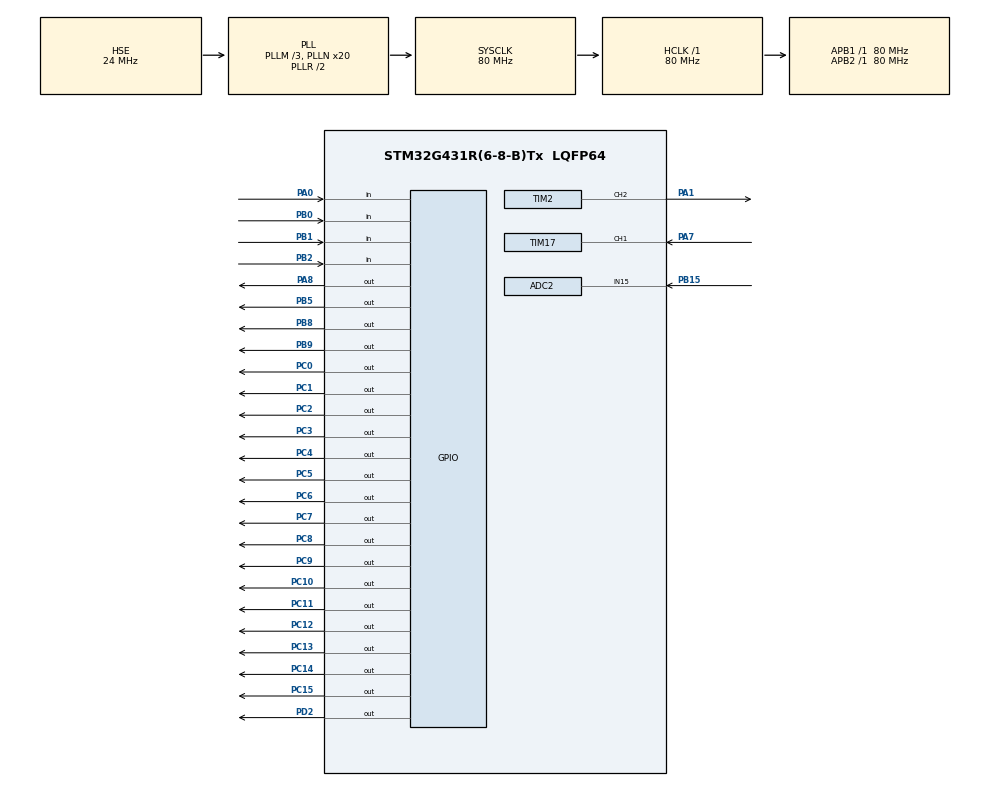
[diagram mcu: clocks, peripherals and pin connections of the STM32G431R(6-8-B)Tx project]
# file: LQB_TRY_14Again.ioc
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ADC2.Channel-0\#ChannelRegularConversion=ADC_CHANNEL_15
ADC2.NbrOfConversionFlag=1
ADC2.OffsetNumber-0\#ChannelRegularConversion=ADC_OFFSET_NONE
ADC2.Rank-0\#ChannelRegularConversion=1
ADC2.SamplingTime-0\#ChannelRegularConversion=ADC_SAMPLETIME_2CYCLES_5
Mcu.Family=STM32G4
Mcu.Name=STM32G431R(6-8-B)Tx
Mcu.Package=LQFP64
NVIC.PriorityGroup=NVIC_PRIORITYGROUP_4
NVIC.TIM1_TRG_COM_TIM17_IRQn=true\:0\:0\:false\:false\:true\:true\:true
NVIC.TIM6_DAC_IRQn=true\:0\:0\:false\:false\:true\:true\:true
PA0.GPIO_Mode=GPIO_MODE_INPUT
PA0.GPIO_PuPd=GPIO_PULLUP
PA0.Signal=GPIO_Input
PA1.Signal=S_TIM2_CH2
PA13.Mode=Serial_Wire
PA13.Signal=SYS_JTMS-SWDIO
PA14.Mode=Serial_Wire
PA14.Signal=SYS_JTCK-SWCLK
PA7.Signal=S_TIM17_CH1
PA8.Signal=GPIO_Output
PB0.GPIO_Mode=GPIO_MODE_INPUT
PB0.GPIO_PuPd=GPIO_PULLUP
PB0.Signal=GPIO_Input
PB1.GPIO_Mode=GPIO_MODE_INPUT
PB1.GPIO_PuPd=GPIO_PULLUP
PB1.Signal=GPIO_Input
PB15.Mode=IN15-Single-Ended
PB15.Signal=ADC2_IN15
PB2.GPIO_Mode=GPIO_MODE_INPUT
PB2.GPIO_PuPd=GPIO_PULLUP
PB2.Signal=GPIO_Input
PB5.Signal=GPIO_Output
PB8-BOOT0.Signal=GPIO_Output
PB9.Signal=GPIO_Output
PC0.Signal=GPIO_Output
PC1.Signal=GPIO_Output
PC10.Signal=GPIO_Output
PC11.Signal=GPIO_Output
PC12.Signal=GPIO_Output
PC13.Signal=GPIO_Output
PC14-OSC32_IN.Signal=GPIO_Output
PC15-OSC32_OUT.Signal=GPIO_Output
PC2.Signal=GPIO_Output
PC3.Signal=GPIO_Output
PC4.Signal=GPIO_Output
PC5.Signal=GPIO_Output
PC6.Signal=GPIO_Output
PC7.Signal=GPIO_Output
PC8.Signal=GPIO_Output
PC9.Signal=GPIO_Output
PD2.Signal=GPIO_Output
PF0-OSC_IN.Mode=HSE-External-Oscillator
PF0-OSC_IN.Signal=RCC_OSC_IN
PF1-OSC_OUT.Mode=HSE-External-Oscillator
PF1-OSC_OUT.Signal=RCC_OSC_OUT
ProjectManager.HeapSize=0x200
ProjectManager.StackSize=0x400
ProjectManager.TargetToolchain=MDK-ARM V5
RCC.ADC12Freq_Value=80000000
RCC.AHBFreq_Value=80000000
RCC.APB1Freq_Value=80000000
RCC.APB1TimFreq_Value=80000000
RCC.APB2Freq_Value=80000000
RCC.APB2TimFreq_Value=80000000
RCC.CortexFreq_Value=80000000
RCC.EXTERNAL_CLOCK_VALUE=12288000
RCC.HCLKFreq_Value=80000000
RCC.HSE_VALUE=24000000
RCC.HSI48_VALUE=48000000
RCC.HSI_VALUE=16000000
RCC.LSE_VALUE=32768
RCC.PLLM=RCC_PLLM_DIV3
RCC.PLLN=20
RCC.PLLSourceVirtual=RCC_PLLSOURCE_HSE
RCC.SYSCLKFreq_VALUE=80000000
RCC.SYSCLKSource=RCC_SYSCLKSOURCE_PLLCLK
RCC.USBFreq_Value=80000000
RCC.VCOOutputFreq_Value=160000000
SH.S_TIM17_CH1.0=TIM17_CH1,Input_Capture1_from_TI1
SH.S_TIM2_CH2.0=TIM2_CH2,PWM Generation2 CH2
TIM17.Channel=TIM_CHANNEL_1
TIM17.Prescaler=79
TIM2.Channel-PWM\ Generation2\ CH2=TIM_CHANNEL_2
TIM2.PeriodNoDither=99
TIM2.Prescaler=199
TIM2.PulseNoDither_2=50
TIM6.PeriodNoDither=999
TIM6.Prescaler=799
VP_SYS_VS_DBSignals.Mode=DisableDeadBatterySignals
VP_TIM17_VS_ClockSourceINT.Mode=Enable_Timer
VP_TIM2_VS_ClockSourceINT.Mode=Internal
VP_TIM6_VS_ClockSourceINT.Mode=Enable_Timer
board=custom

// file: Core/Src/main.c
/* USER CODE BEGIN Header */
/**
  ******************************************************************************
  * @file           : main.c
  * @brief          : Main program body
  ******************************************************************************
  * @attention
  *
  * <h2><center>&copy; Copyright (c) 2023 STMicroelectronics.
  * All rights reserved.</center></h2>
  *
  * This software component is licensed by ST under BSD 3-Clause license,
  * the "License"; You may not use this file except in compliance with the
  * License. You may obtain a copy of the License at:
  *                        opensource.org/licenses/BSD-3-Clause
  *
  ******************************************************************************
  */
/* USER CODE END Header */
#include "main.h"
#include "adc.h"
#include "tim.h"
#include "gpio.h"

/* USER CODE BEGIN Includes */
#include "lcd.h"
/* USER CODE END Includes */

/* USER CODE BEGIN PTD */
typedef struct
{
	bool key_sta,long_sta,single_sta;
	unsigned char time_sta,judge_sta;
}keys;
typedef struct
{
	bool flag1,flag2;
	int time;
}flags;
/* USER CODE END PTD */

/* USER CODE BEGIN PV */
keys key[4] = { 0 };
unsigned char page=0,R[2]={1,1},K[2]={1,1},N=0;
bool line=0,mode=0,lock=0;
char text[30];
double duty=0,V[2]={0},MH=0,ML=0,frq = 0,frq1;
flags adcflag = {0},frqflag = {0},vflag={0};
/* USER CODE END PV */

void SystemClock_Config(void);
/* USER CODE BEGIN PFP */
void LED_Proc(unsigned char led,unsigned char sta);
void KEY_Proc(void);
void LCD_Proc(void);
void ADCValue(void);
/* USER CODE END PFP */

int main(void)
{

  /* MCU Configuration--------------------------------------------------------*/

  /* Reset of all peripherals, Initializes the Flash interface and the Systick. */
  HAL_Init();

  /* Configure the system clock */
  SystemClock_Config();

  /* Initialize all configured peripherals */
  MX_GPIO_Init();
  MX_ADC2_Init();
  MX_TIM2_Init();
  MX_TIM6_Init();
  MX_TIM17_Init();
  /* USER CODE BEGIN 2 */
	//TIM6_INIT
	HAL_TIM_Base_Start_IT(&htim6);
	//LCD_INIT
	LCD_Init();
	LCD_Clear(Black);
	LCD_SetBackColor(Black);
	LCD_SetTextColor(White);
	//TIM17_INIT
	HAL_TIM_IC_Start_IT(&htim17,TIM_CHANNEL_1);
	//TIM2_INIT
	HAL_TIM_PWM_Start(&htim2,TIM_CHANNEL_2);
	//LED_INIT
	LED_Proc(1,1);
	//ADC_INIT
	HAL_ADCEx_Calibration_Start(&hadc2,ADC_SINGLE_ENDED);
  /* USER CODE END 2 */

  /* Infinite loop */
  /* USER CODE BEGIN WHILE */
  while (1)
  {
		KEY_Proc();
		LCD_Proc();
    /* USER CODE END WHILE */

  }
}

void SystemClock_Config(void)
{
  RCC_OscInitTypeDef RCC_OscInitStruct = {0};
  RCC_ClkInitTypeDef RCC_ClkInitStruct = {0};
  RCC_PeriphCLKInitTypeDef PeriphClkInit = {0};

  /** Configure the main internal regulator output voltage
  */
  HAL_PWREx_ControlVoltageScaling(PWR_REGULATOR_VOLTAGE_SCALE1);
  /** Initializes the RCC Oscillators according to the specified parameters
  * in the RCC_OscInitTypeDef structure.
  */
  RCC_OscInitStruct.OscillatorType = RCC_OSCILLATORTYPE_HSE;
  RCC_OscInitStruct.HSEState = RCC_HSE_ON;
  RCC_OscInitStruct.PLL.PLLState = RCC_PLL_ON;
  RCC_OscInitStruct.PLL.PLLSource = RCC_PLLSOURCE_HSE;
  RCC_OscInitStruct.PLL.PLLM = RCC_PLLM_DIV3;
  RCC_OscInitStruct.PLL.PLLN = 20;
  RCC_OscInitStruct.PLL.PLLP = RCC_PLLP_DIV2;
  RCC_OscInitStruct.PLL.PLLQ = RCC_PLLQ_DIV2;
  RCC_OscInitStruct.PLL.PLLR = RCC_PLLR_DIV2;
  if (HAL_RCC_OscConfig(&RCC_OscInitStruct) != HAL_OK)
  {
    Error_Handler();
  }
  /** Initializes the CPU, AHB and APB buses clocks
  */
  RCC_ClkInitStruct.ClockType = RCC_CLOCKTYPE_HCLK|RCC_CLOCKTYPE_SYSCLK
                              |RCC_CLOCKTYPE_PCLK1|RCC_CLOCKTYPE_PCLK2;
  RCC_ClkInitStruct.SYSCLKSource = RCC_SYSCLKSOURCE_PLLCLK;
  RCC_ClkInitStruct.AHBCLKDivider = RCC_SYSCLK_DIV1;
  RCC_ClkInitStruct.APB1CLKDivider = RCC_HCLK_DIV1;
  RCC_ClkInitStruct.APB2CLKDivider = RCC_HCLK_DIV1;

  if (HAL_RCC_ClockConfig(&RCC_ClkInitStruct, FLASH_LATENCY_2) != HAL_OK)
  {
    Error_Handler();
  }
  /** Initializes the peripherals clocks
  */
  PeriphClkInit.PeriphClockSelection = RCC_PERIPHCLK_ADC12;
  PeriphClkInit.Adc12ClockSelection = RCC_ADC12CLKSOURCE_SYSCLK;
  if (HAL_RCCEx_PeriphCLKConfig(&PeriphClkInit) != HAL_OK)
  {
    Error_Handler();
  }
}

/* USER CODE BEGIN 4 */
/**********************************************************************************
*TIM6:0.01s进入一次
*TIM6
**********************************************************************************/
void HAL_TIM_PeriodElapsedCallback(TIM_HandleTypeDef *htim)
{
	if(htim->Instance == TIM6)
	{
		adcflag.time++;
		if(adcflag.time>10)
		{
			adcflag.time = 0;
			if(lock == 0) ADCValue();
		}

		if(frqflag.flag1 == 1)
		{
			frqflag.time++;
			if(frqflag.time %10 == 0 && frqflag.time<=500)
			{
				if(mode == 0) frq1 += 80;
				else frq1 -= 80;
				htim2.Init.Prescaler = 800000/frq1 - 1;
				HAL_TIM_Base_Init(&htim2);
				LED_Proc(2,frqflag.time%20==0);
			}
			else if(frqflag.time > 500)
			{
				frqflag.time = 0;
				mode = mode == 0?1:0;
				frqflag.flag1 = 0;
				frqflag.flag2 = 0;
				vflag.time = 0;
				LED_Proc(2,0);
			}
		}
		vflag.time++;
		if(vflag.time%10 == 0)
		{
			V[0] = frq * 6.28 * R[1] / 100 / K[1];
			if((V[0] > V[1] && V[0] - V[1] > 0.5) || (V[0] < V[1] && V[1] - V[0] > 0.5))
			{
				vflag.time = 0;
				V[1] = V[0];
			}
		}
		if(vflag.time >= 200)
		{
			vflag.time = 0;
			V[1] = V[0];
			if(mode == 0 && V[1] > ML) ML = V[1];
			else if(mode == 1 && V[1] > MH) MH = V[1];
		}

		key[0].key_sta = HAL_GPIO_ReadPin(GPIOB,GPIO_PIN_0);
		key[1].key_sta = HAL_GPIO_ReadPin(GPIOB,GPIO_PIN_1);
		key[2].key_sta = HAL_GPIO_ReadPin(GPIOB,GPIO_PIN_2);
		key[3].key_sta = HAL_GPIO_ReadPin(GPIOA,GPIO_PIN_0);
		for(int i=0;i<4;i++)
		{
			switch(key[i].judge_sta)
			{
				case 0:
				{
					if(key[i].key_sta == 0) key[i].judge_sta = 1;
				}
				break;
				case 1:
				{
					if(key[i].key_sta == 0) key[i].judge_sta = 2;
				}
				break;
				case 2:
				{
					key[i].time_sta++;
					if(key[i].time_sta < 200 && key[i].key_sta == 1)
					{
						key[i].single_sta = 1;
						key[i].time_sta = 0;
						key[i].judge_sta = 0;
					}
					else if(key[i].time_sta >= 200 && key[i].key_sta == 0)
					{
						key[i].long_sta = 1;
						key[i].judge_sta = 3;
						key[i].time_sta = 0;
					}
				}
				break;
				case 3:
				{
					if(key[i].key_sta == 1) key[i].judge_sta = 0;
				}
				break;
			}
		}
	}
}
/**********************************************************************************
*LCD显示函数
*LCD_Proc
**********************************************************************************/
void LCD_Proc(void)
{
	if(page == 0)
	{
		LCD_DisplayStringLine(Line1,(u8 *)"        DATA        ");

		if(mode == 0) LCD_DisplayStringLine(Line3,(u8 *)"    M=L             ");
		else if(mode == 1) LCD_DisplayStringLine(Line3,(u8 *)"    M=H             ");
		sprintf(text,"    P=%.0f%%             ",duty);
		LCD_DisplayStringLine(Line4,(u8 *)text);
		sprintf(text,"    V=%.1f             ",V[0]);
		LCD_DisplayStringLine(Line5,(u8 *)text);
	}
	else if(page == 1)
	{
		LCD_DisplayStringLine(Line1,(u8 *)"        PARA        ");
		sprintf(text,"    R=%d             ",R[0]);
		LCD_DisplayStringLine(Line3,(u8 *)text);
		sprintf(text,"    K=%d             ",K[0]);
		LCD_DisplayStringLine(Line4,(u8 *)text);

		LCD_DisplayStringLine(Line5,(u8 *)"                    ");
	}
	else if(page == 2)
	{
		LCD_DisplayStringLine(Line1,(u8 *)"        RECD        ");

		sprintf(text,"    N=%d             ",N);
		LCD_DisplayStringLine(Line3,(u8 *)text);
		sprintf(text,"    MH=%.1f             ",MH);
		LCD_DisplayStringLine(Line4,(u8 *)text);
		sprintf(text,"    ML=%.1f             ",ML);
		LCD_DisplayStringLine(Line5,(u8 *)text);
	}
	else page = 0;
}
/**********************************************************************************
*按键操作函数
*KEY_Proc
**********************************************************************************/
void KEY_Proc(void)
{
	if(key[0].single_sta == 1)
	{
		page = page == 2?0:page+1;
		if(page == 0) LED_Proc(1,1);
		else LED_Proc(1,0);
		if(page == 2)
		{
			R[1] = R[0];
			K[1] = K[0];
		}
		key[0].single_sta = 0;
	}
	if(key[1].single_sta == 1)
	{
		if(page == 0 && frqflag.flag2 == 0)
		{
			N++;
			frqflag.flag1 = 1;
			frqflag.flag2 = 1;
			if(mode == 0) frq1 = 4000;
			else frq1 = 8000;
		}
		else if(page == 1) line = line == 0?1:0;
		key[1].single_sta = 0;
	}
	if(key[2].single_sta == 1)
	{
		if(page == 1)
		{
			if(line == 0) R[0] = R[0] == 10?1:R[0]+1;
			else K[0] = K[0] == 10?1:K[0]+1;
		}
		key[2].single_sta = 0;
	}
	if(key[3].single_sta == 1)
	{
		if(page == 1)
		{
			if(line == 0) R[0] = R[0] == 1?10:R[0]-1;
			else K[0] = K[0] == 1?10:K[0]-1;
		}
		if(page == 0)
		{
			lock = lock == 1?0:0;
			LED_Proc(3,0);
		}
		key[3].single_sta = 0;
	}
	if(key[3].long_sta == 1)
	{
		if(page == 0)
		{
			lock = 1;
			LED_Proc(3,1);
		}
		key[3].long_sta = 0;
	}
}
/**********************************************************************************
*LED操作函数
*LED_Proc
**********************************************************************************/
void LED_Proc(unsigned char led,unsigned char sta)
{
	static unsigned char LED_STA = 0xff;
	if(sta == 0) LED_STA |= (0x01 << (led-1));
	else if(sta == 1) LED_STA &= ~(0x01 << (led-1));

	GPIOC->ODR = LED_STA << 8;
	HAL_GPIO_WritePin(GPIOD,GPIO_PIN_2,GPIO_PIN_SET);
	HAL_GPIO_WritePin(GPIOD,GPIO_PIN_2,GPIO_PIN_RESET);
}
/**********************************************************************************
*ADC读值
*ADCValue
**********************************************************************************/
void ADCValue(void)
{
	HAL_ADC_Start(&hadc2);
	duty = HAL_ADC_GetValue(&hadc2);
	duty = (duty / 4096 * 3.3 - 1) * 37.5 +10;
	duty = duty<10?10:duty;
	duty = duty>85?85:duty;
	__HAL_TIM_SetCompare(&htim2,TIM_CHANNEL_2,duty);
}
/**********************************************************************************
*输入捕获
*TIM17
**********************************************************************************/
void HAL_TIM_IC_CaptureCallback(TIM_HandleTypeDef *htim)
{
	if(htim->Instance == TIM17)
	{
		frq = HAL_TIM_ReadCapturedValue(htim,TIM_CHANNEL_1);
		__HAL_TIM_SetCounter(htim,0);
		frq = 1000000/frq;
		HAL_TIM_IC_Start(htim,TIM_CHANNEL_1);
	}
}

/* USER CODE END 4 */

void Error_Handler(void)
{
  __disable_irq();
  while (1)
  {
  }
}

/************************ (C) COPYRIGHT STMicroelectronics *****END OF FILE****/
